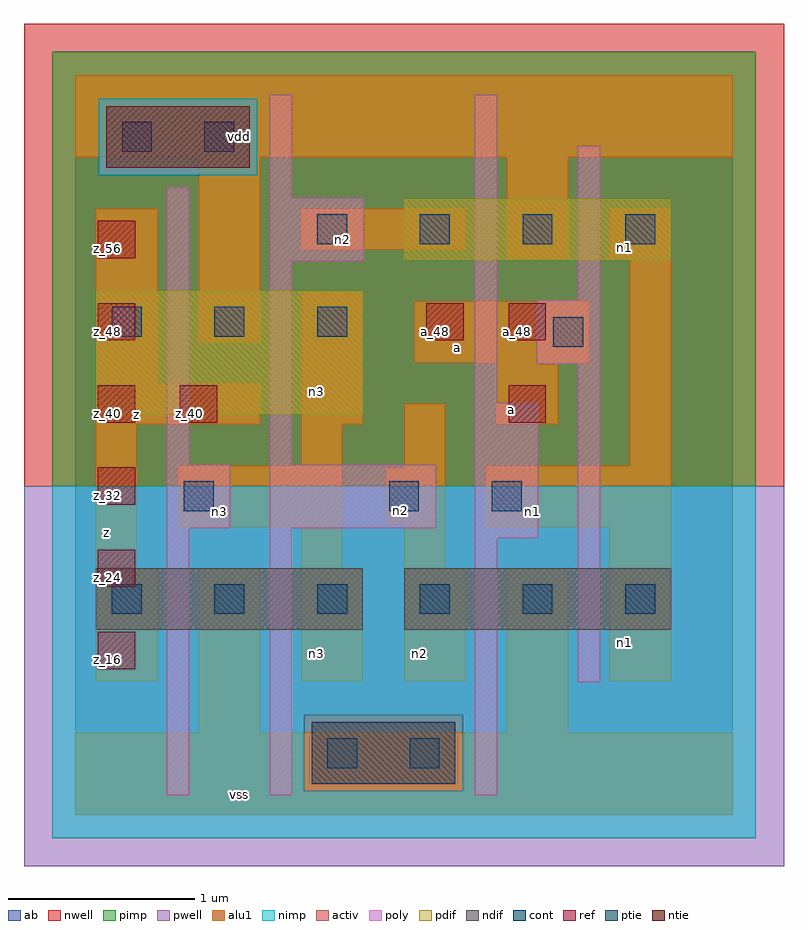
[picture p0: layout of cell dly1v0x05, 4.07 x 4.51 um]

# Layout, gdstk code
import gdstk
lib = gdstk.Library(unit=1e-6, precision=2.5e-09)
def R(c, l, rs):  # rectangles x0, y0, x1, y1
    for r in rs: c.add(gdstk.rectangle(r[:2], r[2:], *l))
def A(c, l, x, y, w, h, nx, ny, dx, dy):  # array of equal rectangles
    R(c, l, [(x+i*dx, y+j*dy, x+i*dx+w, y+j*dy+h) for i in range(nx) for j in range(ny)])
ndif = (3, 0)
pdif = (4, 0)
ntie = (5, 0)
ptie = (6, 0)
ref = (24, 0)
cont = (25, 0)
pwell = (41, 0)
nwell = (42, 0)
activ = (43, 0)
pimp = (44, 0)
nimp = (45, 0)
poly = (46, 0)
alu1 = (49, 0)
ab = (63, 0)

dly1v0x05 = lib.new_cell('dly1v0x05')
R(dly1v0x05, ndif, [(0.11,0.99,1.54,1.32), (1.76,0.99,3.19,1.32)])
R(dly1v0x05, pdif, [(0.11,2.145,1.54,2.805), (1.76,2.97,3.19,3.3)])
R(dly1v0x05, ntie, [(0.165,3.465,0.935,3.795)])
R(dly1v0x05, ptie, [(1.265,0.165,2.035,0.495)])
A(dly1v0x05, ref, 0.12, 0.78, 0.2, 0.2, 1, 6, 0, 0.44)
R(dly1v0x05, ref, [(0.56,2.1,0.76,2.3), (2.32,2.1,2.52,2.3), (1.88,2.54,2.08,2.74), (2.32,2.54,2.52,2.74)])
A(dly1v0x05, cont, 0.195, 1.075, 0.16, 0.16, 6, 1, 0.55, 0)
A(dly1v0x05, cont, 0.195, 2.56, 0.16, 0.16, 3, 1, 0.55, 0)
A(dly1v0x05, cont, 1.295, 3.055, 0.16, 0.16, 4, 1, 0.55, 0)
R(dly1v0x05, cont, [(1.35,0.25,1.51,0.41), (1.79,0.25,1.95,0.41), (0.58,1.625,0.74,1.785), (1.68,1.625,1.84,1.785), (2.23,1.625,2.39,1.785), (2.56,2.505,2.72,2.665), (0.25,3.55,0.41,3.71), (0.69,3.55,0.85,3.71)])
R(dly1v0x05, pwell, [(-0.275,-0.275,3.795,1.76)])
R(dly1v0x05, nwell, [(-0.275,1.76,3.795,4.235)])
R(dly1v0x05, activ, [(1.265,0.165,2.035,0.495), (0.11,0.99,1.54,1.32), (1.76,0.99,3.19,1.32), (0.11,2.145,1.54,2.805), (1.76,2.97,3.19,3.3), (0.165,3.465,0.935,3.795)])
R(dly1v0x05, pimp, [(1.225,0.125,2.075,0.535), (-0.125,1.76,3.645,3.425), (-0.125,3.425,0.125,3.835), (0.975,3.425,3.645,3.835), (-0.125,3.835,3.645,4.085)])
R(dly1v0x05, nimp, [(-0.125,-0.125,3.645,0.125), (-0.125,0.125,1.225,0.535), (2.075,0.125,3.645,0.535), (-0.125,0.535,3.645,1.76), (0.125,3.425,0.975,3.835)])
R(dly1v0x05, poly, [(0.49,0.105,0.61,1.535), (1.04,0.105,1.16,1.535), (2.14,0.105,2.26,1.48), (2.69,0.71,2.81,2.415), (2.14,1.48,2.48,2.205), (0.49,1.535,0.83,1.875), (1.04,1.535,1.93,1.875), (0.49,1.875,0.61,3.36), (1.04,1.875,1.16,2.965), (2.14,2.205,2.26,3.855), (2.47,2.415,2.81,2.755), (2.69,2.755,2.81,3.58), (1.04,2.965,1.545,3.305), (1.04,3.305,1.16,3.855)])
R(dly1v0x05, alu1, [(0,0,3.52,0.44), (0.66,0.44,0.99,1.32), (2.31,0.44,2.64,1.32), (0.11,0.715,0.44,1.32), (1.21,0.715,1.54,1.32), (1.76,0.715,2.09,1.32), (2.86,0.715,3.19,1.54), (0.11,1.32,0.33,2.09), (1.21,1.32,1.43,1.54), (1.76,1.32,1.98,1.555), (0.55,1.54,1.43,1.87), (2.2,1.54,3.19,1.87), (1.665,1.555,1.98,1.855), (1.76,1.855,1.98,2.2), (1.21,1.87,1.43,2.09), (2.97,1.87,3.19,2.97), (0.11,2.09,0.99,2.31), (1.21,2.09,1.54,2.805), (2.255,2.09,2.585,2.42), (0.11,2.31,0.44,3.245), (1.815,2.42,2.75,2.75), (0.66,2.53,0.99,3.52), (2.31,2.97,2.64,3.52), (2.86,2.97,3.19,3.245), (1.21,3.025,2.09,3.245), (0,3.52,3.52,3.96)])
R(dly1v0x05, ab, [(0,0,3.52,3.96)])
dly1v0x05.add(gdstk.Label('vss', (0.88,0.11), layer=49, texttype=0))
dly1v0x05.add(gdstk.Label('n1', (2.9425,0.92), layer=49, texttype=0))
dly1v0x05.add(gdstk.Label('n2', (1.8425,0.865), layer=49, texttype=0))
dly1v0x05.add(gdstk.Label('n3', (1.2925,0.865), layer=49, texttype=0))
dly1v0x05.add(gdstk.Label('n1', (2.4475,1.6225), layer=49, texttype=0))
dly1v0x05.add(gdstk.Label('n2', (1.7425,1.63), layer=49, texttype=0))
dly1v0x05.add(gdstk.Label('a', (2.3375,2.1725), layer=49, texttype=0))
dly1v0x05.add(gdstk.Label('n3', (0.77,1.6225), layer=49, texttype=0))
dly1v0x05.add(gdstk.Label('z', (0.165,1.5125), layer=49, texttype=0))
dly1v0x05.add(gdstk.Label('a', (2.0475,2.5025), layer=49, texttype=0))
dly1v0x05.add(gdstk.Label('n3', (1.2925,2.2675), layer=49, texttype=0))
dly1v0x05.add(gdstk.Label('z', (0.33,2.145), layer=49, texttype=0))
dly1v0x05.add(gdstk.Label('n1', (2.9425,3.0375), layer=49, texttype=0))
dly1v0x05.add(gdstk.Label('n2', (1.43,3.08), layer=49, texttype=0))
dly1v0x05.add(gdstk.Label('vdd', (0.88,3.63), layer=49, texttype=0))
dly1v0x05.add(gdstk.Label('a_48', (2.37,2.59), layer=24, texttype=0))
dly1v0x05.add(gdstk.Label('a_40', (2.37,2.15), layer=24, texttype=0))
dly1v0x05.add(gdstk.Label('z_56', (0.17,3.03), layer=24, texttype=0))
dly1v0x05.add(gdstk.Label('z_48', (0.17,2.59), layer=24, texttype=0))
dly1v0x05.add(gdstk.Label('z_40', (0.17,2.15), layer=24, texttype=0))
dly1v0x05.add(gdstk.Label('z_32', (0.17,1.71), layer=24, texttype=0))
dly1v0x05.add(gdstk.Label('z_24', (0.17,1.27), layer=24, texttype=0))
dly1v0x05.add(gdstk.Label('z_16', (0.17,0.83), layer=24, texttype=0))
dly1v0x05.add(gdstk.Label('a_48', (1.93,2.59), layer=24, texttype=0))
dly1v0x05.add(gdstk.Label('z_40', (0.61,2.15), layer=24, texttype=0))

lib.write_gds('dly1v0x05.gds')
